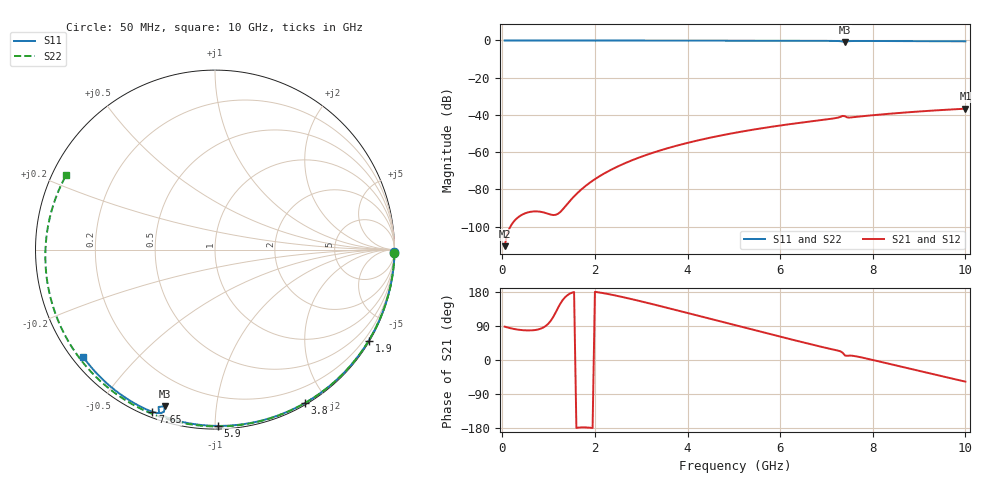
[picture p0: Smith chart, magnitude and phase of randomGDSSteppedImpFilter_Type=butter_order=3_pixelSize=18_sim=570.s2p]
! freq	dB(S11)	phase(S11)	dB(S12)	phase(S12)
!  dB(S21)	phase(S21)	dB(S22)	phase(S22)
!S-par simulation data
#  GHz  S  DB  R 50
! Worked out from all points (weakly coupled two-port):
!   200 points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, 50 MHz to 10 GHz, reference 50 ohm
!   highest |S21| = -36.66 dB at 10 GHz (marker M1); lowest = -110.5 dB at 50 MHz (marker M2)
!   lowest |S11| = -0.8 dB at 7.4 GHz (marker M3), VSWR 22.85, Z = 3.35 - j36.4 ohm
!   |S11| at or under -10 dB: nowhere
!   |S22| runs from -0.7 to 0.0 dB; largest |S21 - S12| = 0
!   S11 on the Smith chart (normalised r, x): 50 MHz: open; 1.9 GHz: 0.03, -3.66; 3.8 GHz: 0.02, -1.75; 5.9 GHz: 0.02, -1.01; 7.65 GHz: 0.02, -0.69; 10 GHz: 0.03, -0.35
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0.05  -0.00 -0.8  -110.49 88.1  -110.49 88.1  -0.00 -1.1
0.85  -0.02 -13.8  -92.13 83.7  -92.13 83.7  -0.02 -18.8
1.7  -0.03 -27.4  -80.18 -177.9  -80.18 -177.9  -0.05 -37.2
1.75  -0.04 -28.2  -79.11 -177.8  -79.11 -177.8  -0.05 -38.3
1.9  -0.04 -30.6  -76.22 -178.7  -76.22 -178.7  -0.05 -41.5
2.2  -0.05 -35.3  -71.45 176.1  -71.45 176.1  -0.06 -47.9
2.55  -0.05 -40.7  -67.03 167.4  -67.03 167.4  -0.07 -55.2
2.95  -0.06 -46.8  -62.92 156.1  -62.92 156.1  -0.08 -63.4
3.4  -0.07 -53.6  -59.13 142.6  -59.13 142.6  -0.10 -72.5
3.8  -0.08 -59.6  -56.29 130.3  -56.29 130.3  -0.11 -80.5
4.4  -0.10 -68.3  -52.70 111.5  -52.70 111.5  -0.13 -92.3
5.05  -0.12 -77.5  -49.48 91.1  -49.48 91.1  -0.16 -104.8
5.9  -0.15 -89.2  -46.04 64.7  -46.04 64.7  -0.21 -120.9
6.7  -0.20 -99.9  -43.36 40.4  -43.36 40.4  -0.27 -136.1
7.3  -0.38 -109.0  -41.06 22.9  -41.06 22.9  -0.32 -147.7
7.35  -0.62 -109.7  -40.53 19.2  -40.53 19.2  -0.32 -148.6
7.4  -0.76 -107.7  -40.71 11.8  -40.71 11.8  -0.33 -149.6
7.45  -0.47 -107.5  -41.35 11.1  -41.35 11.1  -0.33 -150.6
7.65  -0.28 -111.1  -41.03 9.5  -41.03 9.5  -0.35 -154.6
8.35  -0.31 -120.4  -39.39 -10.0  -39.39 -10.0  -0.43 -168.8
9.2  -0.39 -131.0  -37.81 -34.5  -37.81 -34.5  -0.54 172.6
10  -0.47 -141.0  -36.66 -57.1  -36.66 -57.1  -0.66 153.3
